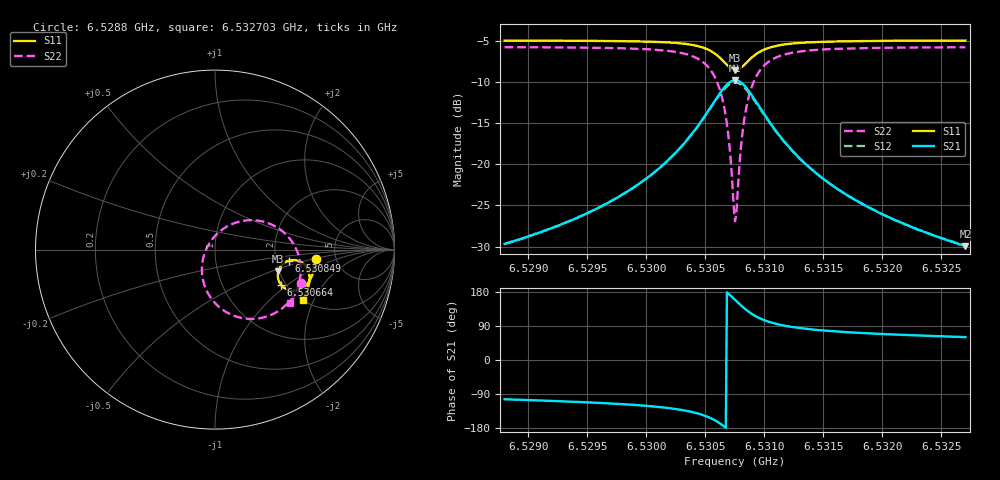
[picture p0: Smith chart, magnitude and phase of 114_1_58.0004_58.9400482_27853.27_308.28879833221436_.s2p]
#  HZ  S  RI  R  50.00
! Rohde & Schwarz Vector Network Analyzer
! Rohde-Schwarz,ZNB20-2Port,1311601062101988,3.16
! Created: UTC 3/21/2024, 12:55:19 AM
! freq[Hz]  re:S11  im:S11  re:S21  im:S21  re:S12  im:S12  re:S22  im:S22
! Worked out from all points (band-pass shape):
!   401 points, 6.5288 GHz to 6.532703 GHz, reference 50 ohm
!   highest |S21| = -9.80 dB at 6.530752 GHz (marker M1); lowest = -29.9 dB at 6.532703 GHz (marker M2)
!   |S21| within 3 dB of the highest: 6.530558 GHz to 6.530948 GHz (390.4 kHz wide, 0.00598 % of centre)
!   lowest |S11| = -8.6 dB at 6.530752 GHz (marker M3), VSWR 2.19, Z = 99.3 - j27.9 ohm
!   |S11| at or under -10 dB: nowhere
!   |S22| runs from -26.9 to -5.8 dB; largest |S21 - S12| = 0.013
!   S11 on the Smith chart (normalised r, x): 6.5288 GHz: 3.48, -0.55; 6.530664 GHz: 1.89, -0.89; 6.530849 GHz: 2.35, -0.35; 6.532703 GHz: 1.99, -1.66
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6.5288005e9  0.5607 -0.0542  -0.00766 -0.0319  -0.00842 -0.0318  0.4804 -0.1834
6.5294542e9  0.5513 -0.1099  -0.0176 -0.0454  -0.0186 -0.0451  0.4482 -0.2456
6.5298249e9  0.5401 -0.1455  -0.0306 -0.0599  -0.0321 -0.0591  0.4137 -0.2909
6.5301079e9  0.524 -0.1778  -0.0527 -0.0782  -0.055 -0.0767  0.3633 -0.3353
6.5303323e9  0.4968 -0.2084  -0.0944 -0.0992  -0.0974 -0.0956  0.2789 -0.3756
6.5304981e9  0.4514 -0.2285  -0.1661 -0.1066  -0.1685 -0.0995  0.1467 -0.3805
6.5305957e9  0.4044 -0.2233  -0.2394 -0.0795  -0.2385 -0.0689  0.0239 -0.3207
6.530664e9  0.367 -0.1947  -0.2941 -0.0186  -0.2877 -0.00743  -0.0558 -0.207
6.5306933e9  0.3553 -0.1735  -0.3088 0.0223  -0.2997 0.0318  -0.0719 -0.137
6.5307323e9  0.3499 -0.139  -0.3105 0.085  -0.2988 0.0911  -0.0622 -0.0336
6.5307518e9  0.3527 -0.121  -0.3019 0.1167  -0.2897 0.1205  -0.042 0.0164
6.5307616e9  0.3557 -0.1122  -0.2952 0.1316  -0.2832 0.1346  -0.0282 0.0398
6.5307713e9  0.3596 -0.104  -0.2873 0.1461  -0.2752 0.1478  -0.0124 0.0617
6.5308104e9  0.3817 -0.0768  -0.2438 0.1923  -0.2337 0.1904  0.0671 0.1287
6.5308494e9  0.4098 -0.0617  -0.1928 0.2172  -0.1852 0.2137  0.1562 0.1603
6.5309177e9  0.4555 -0.0601  -0.1132 0.2201  -0.1094 0.2166  0.2896 0.1497
6.5310153e9  0.4958 -0.082  -0.0445 0.188  -0.0427 0.1861  0.4004 0.0793
6.5311616e9  0.5198 -0.1184  -0.00291 0.1393  -0.00152 0.1386  0.4618 -0.0201
6.5314055e9  0.5269 -0.1624  0.0153 0.0913  0.0163 0.091  0.4776 -0.1208
6.5316885e9  0.5225 -0.1978  0.0185 0.0631  0.0195 0.0629  0.4688 -0.1864
6.5320592e9  0.5117 -0.2334  0.018 0.044  0.0187 0.0438  0.4505 -0.2395
6.5327032e9  0.4886 -0.2836  0.0157 0.0277  0.0162 0.0275  0.4171 -0.2997
